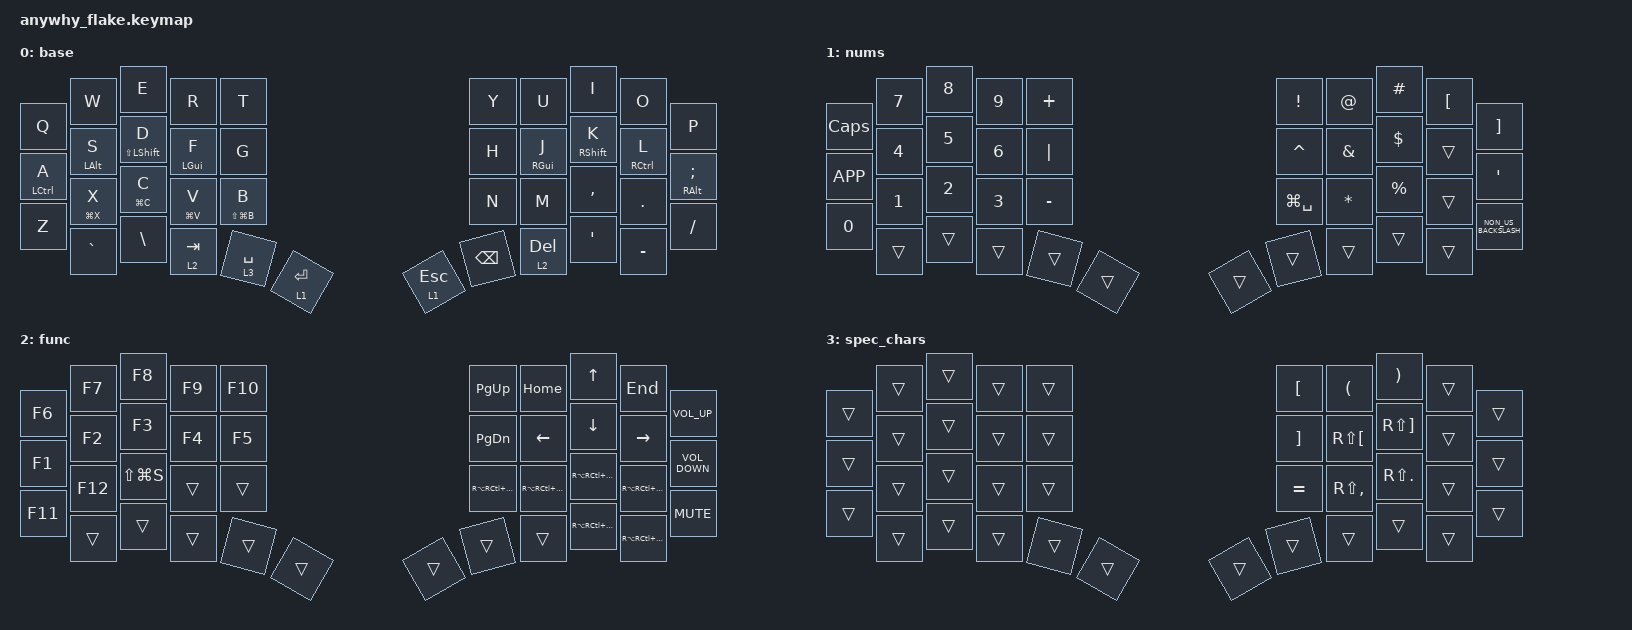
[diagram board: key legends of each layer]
#include <behaviors.dtsi>
#include <dt-bindings/zmk/bt.h>
#include <dt-bindings/zmk/keys.h>

/ {
    combos {
        compatible = "zmk,combos";

        bt_sel_3 {
            bindings = <&bt3>;
            key-positions = <42 30>;
            layers = <2>;
        };

        bt_sel_4 {
            bindings = <&bt4>;
            key-positions = <30 18>;
            layers = <2>;
        };

        enter_gaming {
            bindings = <&sl 3>;
            key-positions = <26 15 28>;
            layers = <2>;
        };

        leave_gaming {
            bindings = <&sl 0>;
            key-positions = <31 20 33>;
            layers = <4>;
        };

        grave {
            bindings = <&kp GRAVE>;
            key-positions = <13 25>;
            layers = <3>;
        };

        switch_to_en {
            bindings = <&switch_to_en>;
            key-positions = <3 2>;
            timeout-ms = <50>;
        };

        switch_to_ru {
            bindings = <&switch_to_ru>;
            key-positions = <7 6>;
            timeout-ms = <50>;
        };
    };

    macros {
        bt_clr_0: bt_clr_0 {
            compatible = "zmk,behavior-macro";
            #binding-cells = <0>;
            bindings = <&bt BT_SEL 0 &bt BT_CLR>;
            label = "BT_CLR_0";
        };

        bt_clr_1: bt_clr_1 {
            compatible = "zmk,behavior-macro";
            #binding-cells = <0>;
            bindings = <&bt BT_SEL 1 &bt BT_CLR>;
            label = "BT_CLR_1";
        };

        bt_clr_2: bt_clr_2 {
            compatible = "zmk,behavior-macro";
            #binding-cells = <0>;
            bindings = <&bt BT_SEL 2 &bt BT_CLR>;
            label = "BT_CLR_2";
        };

        bt_clr_3: bt_clr_3 {
            compatible = "zmk,behavior-macro";
            #binding-cells = <0>;
            bindings = <&bt BT_SEL 3 &bt BT_CLR>;
            label = "BT_CLR_3";
        };

        bt_clr_4: bt_clr_4 {
            compatible = "zmk,behavior-macro";
            #binding-cells = <0>;
            bindings = <&bt BT_SEL 4 &bt BT_CLR>;
            label = "BT_CLR_4";
        };

        switch_to_en: switch_to_en {
            label = "ZM_switch_to_en";
            compatible = "zmk,behavior-macro";
            #binding-cells = <0>;
            wait-ms = <40>;
            tap-ms = <40>;
            bindings =
                <&macro_press>,
                <&kp LCTRL &kp LALT>,
                <&macro_tap>,
                <&kp N1>,
                <&macro_release>,
                <&kp LALT &kp LCTRL>;
        };

        switch_to_ru: switch_to_ru {
            label = "ZM_switch_to_ru";
            compatible = "zmk,behavior-macro";
            #binding-cells = <0>;
            wait-ms = <40>;
            tap-ms = <40>;
            bindings =
                <&macro_press>,
                <&kp LCTRL &kp LALT>,
                <&macro_tap>,
                <&kp N2>,
                <&macro_release>,
                <&kp LALT &kp LCTRL>;
        };
    };

    behaviors {
        bt0: bt0 {
            compatible = "zmk,behavior-mod-morph";
            label = "BT0";
            bindings = <&bt BT_SEL 0>, <&bt_clr_0>;

            #binding-cells = <0>;
            mods = <(MOD_LSFT|MOD_RSFT)>;
        };

        bt1: bt1 {
            compatible = "zmk,behavior-mod-morph";
            label = "BT1";
            bindings = <&bt BT_SEL 1>, <&bt_clr_1>;

            #binding-cells = <0>;
            mods = <(MOD_LSFT|MOD_RSFT)>;
        };

        bt2: bt2 {
            compatible = "zmk,behavior-mod-morph";
            label = "BT2";
            bindings = <&bt BT_SEL 2>, <&bt_clr_2>;

            #binding-cells = <0>;
            mods = <(MOD_LSFT|MOD_RSFT)>;
        };

        bt3: bt3 {
            compatible = "zmk,behavior-mod-morph";
            label = "BT3";
            bindings = <&bt BT_SEL 3>, <&bt_clr_3>;

            #binding-cells = <0>;
            mods = <(MOD_LSFT|MOD_RSFT)>;
        };

        bt4: bt4 {
            compatible = "zmk,behavior-mod-morph";
            label = "BT4";
            bindings = <&bt BT_SEL 4>, <&bt_clr_4>;

            #binding-cells = <0>;
            mods = <(MOD_LSFT|MOD_RSFT)>;
        };

        hml: hml {
            compatible = "zmk,behavior-hold-tap";
            label = "HML";
            bindings = <&kp>, <&kp>;

            #binding-cells = <2>;
            tapping-term-ms = <280>;
            quick-tap-ms = <175>;
            flavor = "balanced";
            hold-trigger-key-positions = <6 7 8 9 8 9 6 7 8 9 18 19 35 39 40 41 5 6 7 8 9 15 16 17 18 19 25 26 27 28 29 35 36 37 38 39>;
            require-prior-idle-ms = <150>;
            hold-trigger-on-release;
        };

        hmr: hmr {
            compatible = "zmk,behavior-hold-tap";
            label = "HMR";
            bindings = <&kp>, <&kp>;

            #binding-cells = <2>;
            tapping-term-ms = <280>;
            quick-tap-ms = <175>;
            flavor = "balanced";
            hold-trigger-key-positions = <0 1 2 3 4 10 11 12 13 14 20 21 22 23 24 30 31 32 33 34>;
            require-prior-idle-ms = <150>;
            hold-trigger-on-release;
        };

        lp: lp {
            compatible = "zmk,behavior-hold-tap";
            label = "LONG_PRESS";
            bindings = <&kp>, <&kp>;

            #binding-cells = <2>;
            tapping-term-ms = <350>;
            flavor = "tap-preferred";
        };
    };

    keymap {
        compatible = "zmk,keymap";

        base {
            bindings = <
  &kp Q                &kp W            &kp E                  &kp R            &kp T              &kp Y         &kp U             &kp I               &kp O                 &kp P
  &hml LEFT_CONTROL A  &hml LEFT_ALT S  &hml LS(LEFT_SHIFT) D  &hml LEFT_GUI F  &kp G              &kp H         &hmr RIGHT_GUI J  &hmr RIGHT_SHIFT K  &hmr RIGHT_CONTROL L  &hmr RIGHT_ALT SEMI
  &kp Z                &lp LG(X) X      &lp LG(C) C            &lp LG(V) V      &lp LS(LG(B)) B    &kp N         &kp M             &kp COMMA           &kp DOT               &kp FSLH
  &kp GRAVE            &kp BSLH         &lt 2 TAB              &lt 3 SPACE      &lt 1 ENTER        &lt 1 ESCAPE  &kp BACKSPACE     &lt 2 DELETE        &kp SQT               &kp MINUS
            >;
        };

        nums {
            bindings = <
  &kp CAPSLOCK  &kp N7  &kp N8  &kp N9  &kp PLUS     &kp EXCL       &kp AT    &kp HASH     &kp LEFT_BRACKET  &kp RIGHT_BRACKET
  &kp K_APP     &kp N4  &kp N5  &kp N6  &kp PIPE     &kp CARET      &kp AMPS  &kp DOLLAR   &trans            &kp SQT
  &kp N0        &kp N1  &kp N2  &kp N3  &kp MINUS    &kp LG(SPACE)  &kp STAR  &kp PERCENT  &trans            &kp NON_US_BACKSLASH
  &trans        &trans  &trans  &trans  &trans       &trans         &trans    &trans       &trans            &trans
            >;
        };

        func {
            bindings = <
  &kp F6   &kp F7   &kp F8         &kp F9  &kp F10    &kp PAGE_UP         &kp HOME            &kp UP_ARROW        &kp END             &kp C_VOLUME_UP
  &kp F1   &kp F2   &kp F3         &kp F4  &kp F5     &kp PAGE_DOWN       &kp LEFT_ARROW      &kp DOWN_ARROW      &kp RIGHT_ARROW     &kp C_VOLUME_DOWN
  &kp F11  &kp F12  &kp LS(LG(S))  &trans  &trans     &kp RA(RC(RG(N1)))  &kp RA(RC(RG(N2)))  &kp RA(RC(RG(N3)))  &kp RA(RC(RG(N4)))  &kp C_MUTE
  &trans   &trans   &trans         &trans  &trans     &trans              &trans              &trans              &kp RA(RC(RG(N5)))  &kp RA(RC(RG(N6)))
            >;
        };

        spec_chars {
            bindings = <
  &trans  &trans  &trans  &trans  &trans    &kp LBKT   &kp LPAR              &kp RPAR               &trans  &trans
  &trans  &trans  &trans  &trans  &trans    &kp RBKT   &kp RS(LEFT_BRACKET)  &kp RS(RIGHT_BRACKET)  &trans  &trans
  &trans  &trans  &trans  &trans  &trans    &kp EQUAL  &kp RS(COMMA)         &kp RS(DOT)            &trans  &trans
  &trans  &trans  &trans  &trans  &trans    &trans     &trans                &trans                 &trans  &trans
            >;
        };
    };
};
